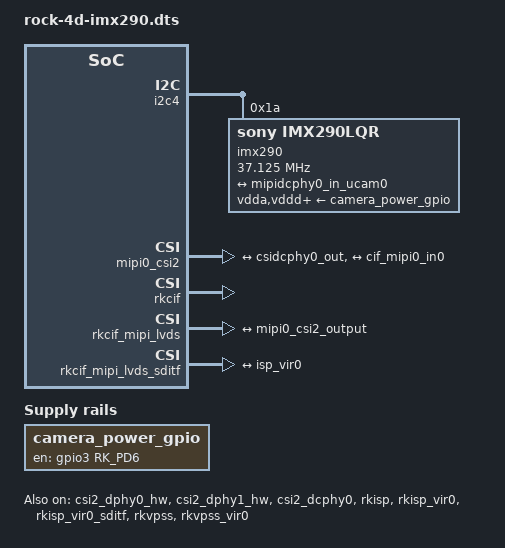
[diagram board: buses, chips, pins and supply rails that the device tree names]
/dts-v1/;
/plugin/;

#include <dt-bindings/gpio/gpio.h>
#include <dt-bindings/pinctrl/rockchip.h>
#include <dt-bindings/clock/rockchip,rk3576-cru.h>

/ {
        metadata {
                title = "Enable Sony IMX290 Camera";
                compatible = "radxa,rock-4d";
                category = "camera";
                exclusive = "GPIO3_D6", "GPIO4_A1", "csi2_dcphy0", "i2c4";
                description = "Enable Sony IMX290 MIPI CSI-2 camera.";
        };
};

&{/} {
        /*
         * GPIO3_D6 is assumed to enable power to the complete camera module,
         * as it did in the OV9281 overlay.
         *
         * The module is assumed to contain its own AVDD, DVDD and DOVDD
         * regulators. Therefore, this one module-power regulator is used
         * as the source for all three driver supply names.
         */
        camera_power_gpio: camera-power-gpio {
                compatible = "regulator-fixed";
                regulator-name = "camera_power_gpio";
                regulator-always-on;
                regulator-boot-on;

                enable-active-high;
                gpio = <&gpio3 RK_PD6 GPIO_ACTIVE_HIGH>;

                pinctrl-names = "default";
                pinctrl-0 = <&cam_power_gpio>;
        };

};

&i2c4 {
        status = "okay";
        pinctrl-0 = <&i2c4m3_xfer>;

        #address-cells = <1>;
        #size-cells = <0>;

        imx290: imx290@1a {
                status = "okay";
                compatible = "sony,imx290lqr";
                reg = <0x1a>;

                /*
		 * Physical clock output routed to the FFC connector:
		 * CAM_CLK2_OUT_M0 on GPIO4_A1.
                 */
		clocks = <&cru CLK_MIPI_CAMERAOUT_M2>;
		clock-names = "xclk";

		assigned-clocks = <&cru CLK_MIPI_CAMERAOUT_M2>;
		assigned-clock-rates = <37125000>;

		clock-frequency = <37125000>;

		pinctrl-names = "default";
		pinctrl-0 = <&cam_clk2m0_clk2>;

                /*
                 * Names must match the driver's supply list:
                 *
                 *     vdda
                 *     vddd
                 *     vdddo
                 *
                 * This assumes the camera board generates the individual
                 * sensor voltages internally after module power is enabled.
                 */
                vdda-supply = <&camera_power_gpio>;
                vddd-supply = <&camera_power_gpio>;
                vdddo-supply = <&camera_power_gpio>;

                /*
                 * Do not add reset-gpios here unless the camera connector
                 * actually routes a separate IMX290 reset pin.
                 *
                 * The driver treats reset as optional.
                 */

                rockchip,camera-module-index = <0>;
                rockchip,camera-module-facing = "back";
                rockchip,camera-module-name = "imx290";
                rockchip,camera-module-lens-name = "default";

                port {
                        imx290_out0: endpoint {
                                remote-endpoint =
                                        <&mipidcphy0_in_ucam0>;

				clock-lanes = <0>;
                                data-lanes = <1 2>;

                                /*
                                 * Required by this driver. It checks that
                                 * every supported two-lane mode frequency
                                 * is listed in the device tree.
                                 */
                                link-frequencies =
                                        /bits/ 64 <445500000 297000000>;
                        };
                };
        };
};

&csi2_dphy0_hw {
        status = "okay";
};

&csi2_dphy1_hw {
        status = "okay";
};

&csi2_dcphy0 {
        status = "okay";

        ports {
                #address-cells = <1>;
                #size-cells = <0>;

                port@0 {
                        reg = <0>;

                        #address-cells = <1>;
                        #size-cells = <0>;

                        mipidcphy0_in_ucam0: endpoint@2 {
                                reg = <2>;
                                remote-endpoint = <&imx290_out0>;
				clock-lanes = <0>;
                                data-lanes = <1 2>;
                        };
                };

                port@1 {
                        reg = <1>;

                        #address-cells = <1>;
                        #size-cells = <0>;

                        csidcphy0_out: endpoint@0 {
                                reg = <0>;
                                remote-endpoint = <&mipi0_csi2_input>;
                        };
                };
        };
};

&mipi0_csi2 {
        status = "okay";

        ports {
                #address-cells = <1>;
                #size-cells = <0>;

                port@0 {
                        reg = <0>;

                        #address-cells = <1>;
                        #size-cells = <0>;

                        mipi0_csi2_input: endpoint@1 {
                                reg = <1>;
                                remote-endpoint = <&csidcphy0_out>;
                        };
                };

                port@1 {
                        reg = <1>;

                        #address-cells = <1>;
                        #size-cells = <0>;

                        mipi0_csi2_output: endpoint@0 {
                                reg = <0>;
                                remote-endpoint = <&cif_mipi0_in0>;
                        };
                };
        };
};

&rkcif {
        status = "okay";
};

&rkcif_mmu {
        status = "okay";
};

&rkcif_mipi_lvds {
        status = "okay";

        port {
                cif_mipi0_in0: endpoint {
                        remote-endpoint = <&mipi0_csi2_output>;
                };
        };
};

&rkcif_mipi_lvds_sditf {
        status = "okay";

        port {
                mipi_lvds_sditf: endpoint {
                        remote-endpoint = <&isp_vir0>;
                };
        };
};

&rkisp_mmu {
        status = "okay";
};

&rkisp {
        status = "okay";
};

&rkisp_vir0 {
        status = "okay";

        port {
                #address-cells = <1>;
                #size-cells = <0>;

                isp_vir0: endpoint@0 {
                        reg = <0>;
                        remote-endpoint = <&mipi_lvds_sditf>;
                };
        };
};

&rkisp_vir0_sditf {
        status = "okay";
};

&rkvpss {
        status = "okay";
};

&rkvpss_mmu {
        status = "okay";
};

&rkvpss_vir0 {
        status = "okay";
};

&pinctrl {
        camera {
                cam_power_gpio: cam-power-gpio {
                        rockchip,pins =
                                <3 RK_PD6 RK_FUNC_GPIO &pcfg_pull_up>;
                };
        };
};
